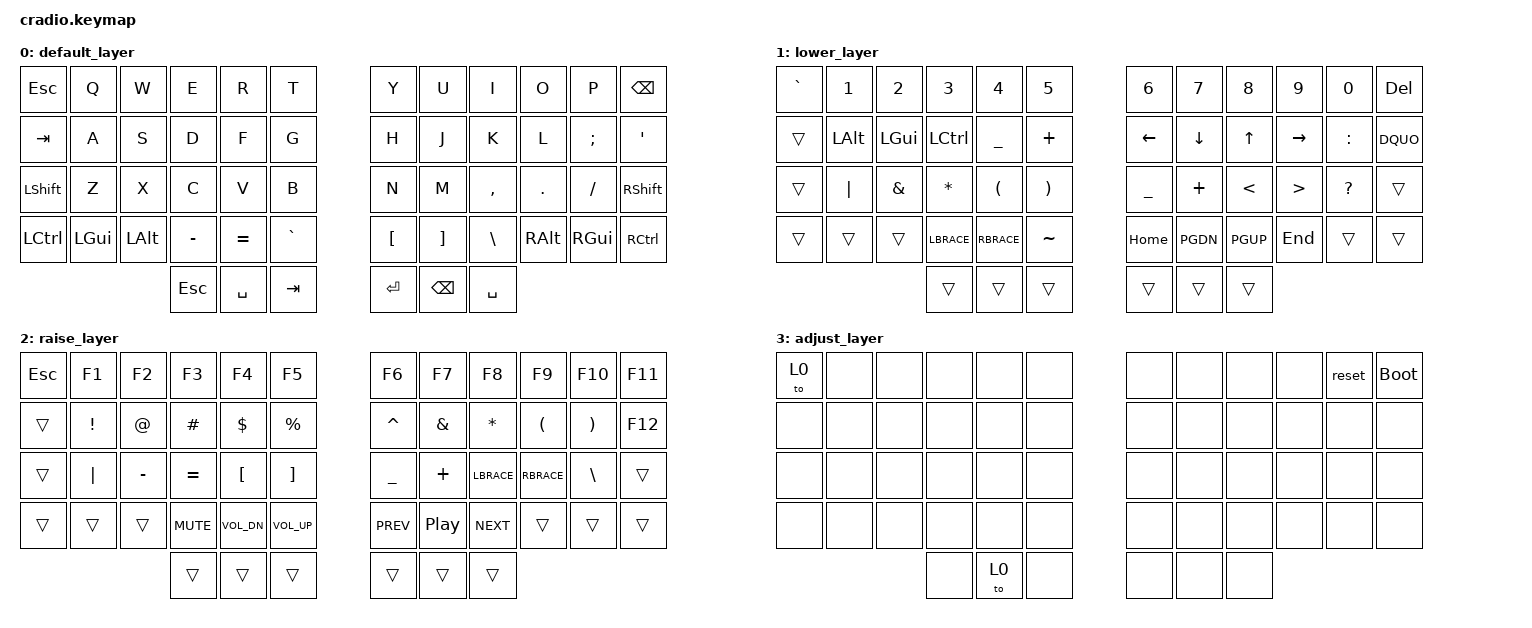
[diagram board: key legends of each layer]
// Copyright (c) 2022 The ZMK Contributors
// SPDX-License-Identifier: MIT


#include <behaviors.dtsi>
#include <dt-bindings/zmk/keys.h>

#define ____ &none
#define ___  &trans

/ {
    keymap {
        compatible = "zmk,keymap";

        /* ===========================
         * DEFAULT – QWERTY-ish
         * ---------------------------
         * Visual order (per line) is L6 → R6 for each of the 4 main rows,
         * then Left thumbs (3) and Right thumbs (3).
         * =========================== */
        default_layer {
            bindings = <
                /* Row 0 (top) */
                &kp ESC    &kp Q      &kp W      &kp E      &kp R      &kp T           &kp Y      &kp U      &kp I       &kp O       &kp P       &kp BSPC
                /* Row 1 (home) */
                &kp TAB    &kp A      &kp S      &kp D      &kp F      &kp G           &kp H      &kp J      &kp K       &kp L       &kp SCLN    &kp QUOT
                /* Row 2 (bottom letters) */
                &kp LSHFT  &kp Z      &kp X      &kp C      &kp V      &kp B           &kp N      &kp M      &kp COMMA   &kp DOT     &kp SLASH   &kp RSHFT
                /* Row 3 (mods/utility row) */
                &kp LCTRL  &kp LGUI   &kp LALT   &kp MINUS  &kp EQUAL  &kp GRAVE       &kp LBKT   &kp RBKT   &kp BSLH    &kp RALT    &kp RGUI    &kp RCTRL
                /* Thumbs: left(3), right(3)
                   The two splayed thumb keys can both be SPACE per your note. */
                &kp ESC    &kp SPACE  &kp TAB                 &kp ENTER &kp BSPC  &kp SPACE
            >;
        }

        /* ===========================
         * LOWER – numbers / arrows / symbols
         * =========================== */
        lower_layer {
            bindings = <
                /* Row 0 */
                &kp GRAVE  &kp N1     &kp N2     &kp N3     &kp N4     &kp N5          &kp N6     &kp N7     &kp N8      &kp N9      &kp N0      &kp DEL
                /* Row 1 */
                ___        &kp LALT   &kp LGUI   &kp LCTRL  &kp UNDERSCORE &kp PLUS    &kp LEFT   &kp DOWN   &kp UP      &kp RIGHT   &kp COLON   &kp DQUO
                /* Row 2 */
                ___        &kp PIPE   &kp AMPS   &kp ASTRK  &kp LPAR   &kp RPAR        &kp UNDERSCORE &kp PLUS &kp LT     &kp GT      &kp QMARK   ___
                /* Row 3 */
                ___        ___        ___        &kp LBRACE &kp RBRACE &kp TILDE       &kp HOME   &kp PGDN   &kp PGUP    &kp END     ___         ___
                /* Thumbs */
                ___        ___        ___                        ___        ___        ___
            >;
        }

        /* ===========================
         * RAISE – F-keys / media / extras
         * =========================== */
        raise_layer {
            bindings = <
                /* Row 0 */
                &kp ESC    &kp F1     &kp F2     &kp F3     &kp F4     &kp F5          &kp F6     &kp F7     &kp F8      &kp F9      &kp F10     &kp F11
                /* Row 1 */
                ___        &kp EXCL   &kp AT     &kp HASH   &kp DLLR   &kp PERCENT     &kp CARET  &kp AMPS   &kp ASTRK   &kp LPAR    &kp RPAR    &kp F12
                /* Row 2 */
                ___        &kp PIPE   &kp MINUS  &kp EQUAL  &kp LBKT   &kp RBKT        &kp UNDERSCORE &kp PLUS &kp LBRACE &kp RBRACE  &kp BSLH    ___
                /* Row 3 (media) */
                ___        ___        ___        &kp C_MUTE &kp C_VOL_DN &kp C_VOL_UP  &kp C_PREV &kp C_PLAY_PAUSE &kp C_NEXT ___     ___        ___
                /* Thumbs */
                ___        ___        ___                        ___        ___        ___
            >;
        }

        /* ===========================
         * ADJUST – boot/reset/etc.
         * =========================== */
        adjust_layer {
            bindings = <
                /* Row 0 */
                &to 0      ____       ____       ____       ____       ____            ____       ____       ____        ____        &reset      &bootloader
                /* Row 1 */
                ____       ____       ____       ____       ____       ____            ____       ____       ____        ____        ____        ____
                /* Row 2 */
                ____       ____       ____       ____       ____       ____            ____       ____       ____        ____        ____        ____
                /* Row 3 */
                ____       ____       ____       ____       ____       ____            ____       ____       ____        ____        ____        ____
                /* Thumbs */
                ____       &to 0      ____                        ____        ____        ____
            >;
        }
    };
};
